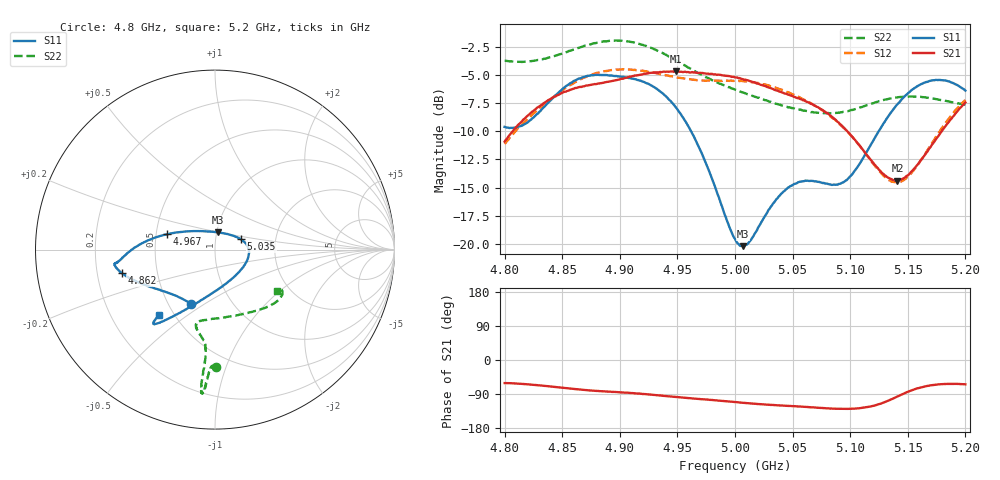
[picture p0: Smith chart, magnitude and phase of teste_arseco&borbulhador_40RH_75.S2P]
! Network Analyzer HP8722D
! Hewlett-Packard
! Data name: Linha & Wilkinson
! Saver's name: Rodrigo Anjos
! Comments: Teste da utilização de aquisição
! continua pelo VNA HP8722D
! Time and date: 15/4/2025 16:58
!  Frequency  S11  S21  S12  S22
# HZ  S  MA R 50
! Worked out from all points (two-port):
!   401 points, 4.8 GHz to 5.2 GHz, reference 50 ohm
!   highest |S21| = -4.63 dB at 4.949 GHz (marker M1); lowest = -14.4 dB at 5.141 GHz (marker M2)
!   |S21| within 3 dB of the highest: 4.832 GHz to 5.068 GHz (236.2 MHz wide, 4.77 % of centre); 5.198022 GHz to end of sweep
!   lowest |S11| = -20.2 dB at 5.007 GHz (marker M3), VSWR 1.22, Z = 50.5 + j9.82 ohm
!   |S11| at or under -10 dB: 4.962 GHz to 5.125 GHz (162.7 MHz wide, 3.23 % of centre)
!   |S22| runs from -8.4 to -1.9 dB; largest |S21 - S12| = 0.88
!   S11 on the Smith chart (normalised r, x): 4.8 GHz: 0.65, -0.44; 4.862 GHz: 0.31, -0.11; 4.967 GHz: 0.57, +0.11; 5.035 GHz: 1.33, +0.16; 5.2 GHz: 0.41, -0.39
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4.8e9  0.3313 -114.0  0.2849 -60.9  0.2783 -175.1  0.6535 -89.6
4.819e9  0.3452 -133.9  0.3678 -64.1  0.3547 -173.5  0.6478 -91.3
4.862e9  0.5364 -166.0  0.4941 -76.9  0.5272 -176.7  0.7409 -93.7
4.867e9  0.5495 -167.9  0.4996 -78.6  0.5425 -177.7  0.7539 -93.9
4.9e9  0.5558 -172.4  0.5398 -85.2  0.5977 175.6  0.8027 -95.2
4.934e9  0.4822 -178.2  0.5806 -93.6  0.5721 171.7  0.718 -95.7
4.949e9  0.4028 174.7  0.5866 -97.6  0.5519 172.1  0.6554 -95.4
4.967e9  0.2809 162.4  0.5782 -102.2  0.5351 173.9  0.5791 -95.1
5e9  0.105 105.8  0.5506 -111.1  0.5338 176.3  0.4861 -99.3
5.007e9  0.09739 81.8  0.5406 -112.9  0.5298 176.3  0.4713 -101.0
5.014e9  0.1041 59.5  0.5288 -114.9  0.5256 176.1  0.4586 -102.6
5.035e9  0.1553 21.6  0.4835 -119.3  0.4969 174.9  0.4212 -104.0
5.05e9  0.1823 6.1  0.4546 -121.8  0.463 174.3  0.4021 -100.4
5.067e9  0.1903 -12.4  0.4188 -124.9  0.4196 173.9  0.3861 -91.6
5.087e9  0.1828 -44.9  0.3576 -128.6  0.3557 173.5  0.3822 -76.7
5.097e9  0.192 -65.9  0.3188 -129.0  0.3174 174.7  0.3891 -68.3
5.134e9  0.3752 -116.6  0.1953 -106.1  0.1914 -158.9  0.4427 -43.4
5.141e9  0.4183 -120.4  0.1909 -96.3  0.1877 -147.9  0.4487 -40.3
5.153e9  0.4821 -125.3  0.2088 -80.4  0.206 -129.5  0.4528 -36.0
5.17e9  0.5327 -128.9  0.2708 -66.8  0.2757 -112.9  0.445 -32.1
5.184e9  0.5311 -130.2  0.3411 -63.1  0.3519 -107.2  0.4319 -31.2
5.2e9  0.4811 -130.6  0.4261 -64.2  0.4371 -106.2  0.4158 -33.6
